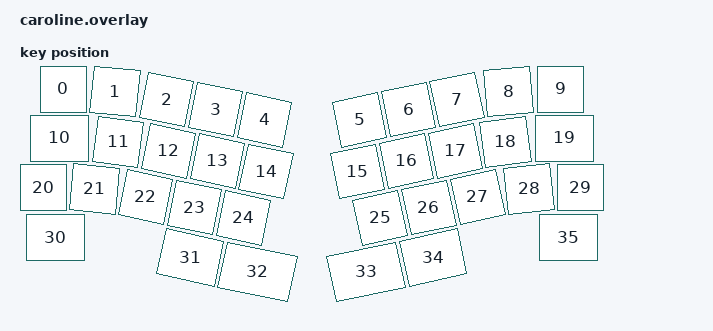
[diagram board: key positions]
/*
 * Copyright (c) 2026 carrefinho
 * SPDX-License-Identifier: MIT
 *
 * Key positions, the same on every controller. boards/<board>.overlay
 * supplies ec_kscan and ec_transform for the XIAO in the socket.
 */

#include <physical_layouts.dtsi>

/ {
	/* The kscan goes in `input` here and nowhere else: no `kscan` property,
	 * and no zmk,kscan or zmk,matrix-transform in chosen. */
	ec_layout: ec_layout {
		compatible = "zmk,physical-layout";
		display-name = "Caroline";
		transform = <&ec_transform>;
		input = <&ec_kscan>;

		keys  //                     w       h       x       y     rot      rx      ry
			= <&key_physical_attrs     100     100      40       0       0       0       0>  /* Q */
			, <&key_physical_attrs     100     100     144       5     530     194      55>  /* W */
			, <&key_physical_attrs     100     100     247      21    1200     297      71>  /* E */
			, <&key_physical_attrs     100     100     345      41    1200     395      91>  /* R */
			, <&key_physical_attrs     100     100     443      62    1200     493     112>  /* T */
			, <&key_physical_attrs     100     100     633      62 (-1200)     683     112>  /* Y */
			, <&key_physical_attrs     100     100     731      41 (-1200)     781      91>  /* U */
			, <&key_physical_attrs     100     100     828      21 (-1200)     878      71>  /* I */
			, <&key_physical_attrs     100     100     931       5  (-530)     981      55>  /* O */
			, <&key_physical_attrs     100     100    1035       0       0       0       0>  /* P */
			, <&key_physical_attrs     125     100      20      98       0       0       0>  /* A */
			, <&key_physical_attrs     100     100     150     106     770     200     156>  /* S */
			, <&key_physical_attrs     100     100     251     124    1200     301     174>  /* D */
			, <&key_physical_attrs     100     100     349     144    1200     399     194>  /* F */
			, <&key_physical_attrs     100     100     446     165    1200     496     215>  /* G */
			, <&key_physical_attrs     100     100     629     165 (-1200)     679     215>  /* H */
			, <&key_physical_attrs     100     100     727     144 (-1200)     777     194>  /* J */
			, <&key_physical_attrs     100     100     825     124 (-1200)     875     174>  /* K */
			, <&key_physical_attrs     100     100     925     106  (-770)     975     156>  /* L */
			, <&key_physical_attrs     125     100    1030      98       0       0       0>  /* ; */
			, <&key_physical_attrs     100     100       0     197       0       0       0>  /* Z */
			, <&key_physical_attrs     100     100     103     200     540     153     250>  /* X */
			, <&key_physical_attrs     100     100     205     216    1200     255     266>  /* C */
			, <&key_physical_attrs     100     100     303     237    1200     353     287>  /* V */
			, <&key_physical_attrs     100     100     401     258    1200     451     308>  /* B */
			, <&key_physical_attrs     100     100     674     258 (-1200)     724     308>  /* N */
			, <&key_physical_attrs     100     100     772     237 (-1200)     822     287>  /* M */
			, <&key_physical_attrs     100     100     870     216 (-1200)     920     266>  /* , */
			, <&key_physical_attrs     100     100     972     200  (-540)    1022     250>  /* . */
			, <&key_physical_attrs     100     100    1075     197       0       0       0>  /* / */
			, <&key_physical_attrs     125     100      12     297       0       0       0>  /* LCtrl */
			, <&key_physical_attrs     125     100     282     337    1200     345     387>  /* LMod */
			, <&key_physical_attrs     150     100     404     366    1200     479     416>  /* LSpc */
			, <&key_physical_attrs     150     100     621     366 (-1200)     696     416>  /* RSpc */
			, <&key_physical_attrs     125     100     768     337 (-1200)     831     387>  /* RMod */
			, <&key_physical_attrs     125     100    1038     297       0       0       0>  /* RCtrl */
			;
	};
};
